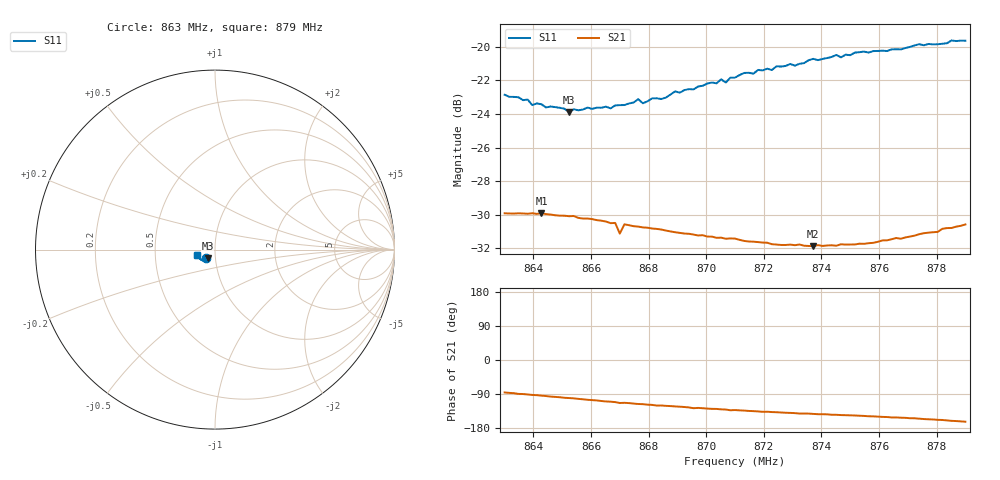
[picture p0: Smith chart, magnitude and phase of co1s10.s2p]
# HZ S RI R 50
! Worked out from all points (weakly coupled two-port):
!   101 points, 863 MHz to 879 MHz, reference 50 ohm
!   highest |S21| = -29.90 dB at 864.28 MHz (marker M1); lowest = -31.9 dB at 873.72 MHz (marker M2)
!   lowest |S11| = -23.9 dB at 865.24 MHz (marker M3), VSWR 1.14, Z = 45.8 - j4.45 ohm
!   |S11| at or under -10 dB: start of sweep to end of sweep
!   S12 and S22 are empty: the file has one direction only
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8.63e8  -0.0523 -0.0494  0.00247 -0.0319  0 0  0 0
8.638e8  -0.0497 -0.0487  -0.000562 -0.0319  0 0  0 0
8.6396e8  -0.0466 -0.0482  -0.00122 -0.0319  0 0  0 0
8.6428e8  -0.046 -0.0492  -0.00226 -0.0319  0 0  0 0
8.6524e8  -0.0418 -0.0484  -0.00564 -0.0308  0 0  0 0
8.6572e8  -0.0404 -0.0509  -0.0073 -0.03  0 0  0 0
8.6684e8  -0.0399 -0.0536  -0.0108 -0.0279  0 0  0 0
8.67e8  -0.0389 -0.0545  -0.0111 -0.0255  0 0  0 0
8.6716e8  -0.0393 -0.0543  -0.0116 -0.0273  0 0  0 0
8.6764e8  -0.0415 -0.0561  -0.0128 -0.0262  0 0  0 0
8.678e8  -0.0402 -0.0547  -0.0129 -0.026  0 0  0 0
8.6812e8  -0.0415 -0.0566  -0.0137 -0.0253  0 0  0 0
8.6844e8  -0.0403 -0.0571  -0.0143 -0.0248  0 0  0 0
8.6892e8  -0.0431 -0.0597  -0.0151 -0.0237  0 0  0 0
8.6956e8  -0.0441 -0.0602  -0.0167 -0.022  0 0  0 0
8.7052e8  -0.0492 -0.063  -0.0175 -0.0207  0 0  0 0
8.7068e8  -0.0483 -0.0615  -0.0175 -0.0203  0 0  0 0
8.71e8  -0.0508 -0.0629  -0.018 -0.0199  0 0  0 0
8.7132e8  -0.0537 -0.064  -0.0182 -0.0192  0 0  0 0
8.7372e8  -0.0678 -0.0622  -0.0202 -0.0156  0 0  0 0
8.7644e8  -0.0845 -0.0499  -0.0235 -0.0127  0 0  0 0
8.79e8  -0.0992 -0.0318  -0.0283 -0.00875  0 0  0 0
